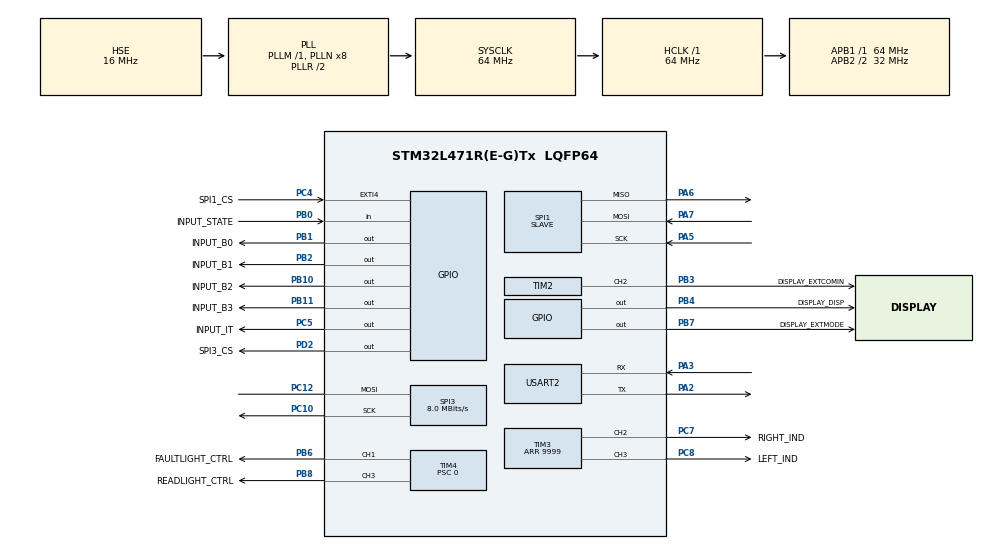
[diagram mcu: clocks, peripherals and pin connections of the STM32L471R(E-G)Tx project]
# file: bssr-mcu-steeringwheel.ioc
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Dma.Request0=SPI3_TX
Dma.Request1=SPI1_RX
Dma.Request2=SPI1_TX
Dma.SPI1_RX.1.Direction=DMA_PERIPH_TO_MEMORY
Dma.SPI1_RX.1.Instance=DMA1_Channel2
Dma.SPI1_RX.1.MemDataAlignment=DMA_MDATAALIGN_BYTE
Dma.SPI1_RX.1.MemInc=DMA_MINC_ENABLE
Dma.SPI1_RX.1.Mode=DMA_NORMAL
Dma.SPI1_RX.1.PeriphDataAlignment=DMA_PDATAALIGN_BYTE
Dma.SPI1_RX.1.PeriphInc=DMA_PINC_DISABLE
Dma.SPI1_RX.1.Priority=DMA_PRIORITY_HIGH
Dma.SPI1_TX.2.Direction=DMA_MEMORY_TO_PERIPH
Dma.SPI1_TX.2.Instance=DMA1_Channel3
Dma.SPI1_TX.2.MemDataAlignment=DMA_MDATAALIGN_BYTE
Dma.SPI1_TX.2.MemInc=DMA_MINC_ENABLE
Dma.SPI1_TX.2.Mode=DMA_NORMAL
Dma.SPI1_TX.2.PeriphDataAlignment=DMA_PDATAALIGN_BYTE
Dma.SPI1_TX.2.PeriphInc=DMA_PINC_DISABLE
Dma.SPI1_TX.2.Priority=DMA_PRIORITY_HIGH
Dma.SPI3_TX.0.Direction=DMA_MEMORY_TO_PERIPH
Dma.SPI3_TX.0.Instance=DMA2_Channel2
Dma.SPI3_TX.0.MemDataAlignment=DMA_MDATAALIGN_BYTE
Dma.SPI3_TX.0.MemInc=DMA_MINC_ENABLE
Dma.SPI3_TX.0.Mode=DMA_NORMAL
Dma.SPI3_TX.0.PeriphDataAlignment=DMA_PDATAALIGN_BYTE
Dma.SPI3_TX.0.PeriphInc=DMA_PINC_DISABLE
Dma.SPI3_TX.0.Priority=DMA_PRIORITY_LOW
Mcu.Family=STM32L4
Mcu.Name=STM32L471R(E-G)Tx
Mcu.Package=LQFP64
NVIC.DMA1_Channel2_IRQn=true\:0\:0\:false\:false\:true\:false\:true\:true
NVIC.DMA1_Channel3_IRQn=true\:0\:0\:false\:false\:true\:false\:true\:true
NVIC.DMA2_Channel2_IRQn=true\:0\:0\:false\:false\:true\:false\:true\:true
NVIC.EXTI4_IRQn=true\:0\:0\:false\:false\:true\:true\:true\:true
NVIC.PriorityGroup=NVIC_PRIORITYGROUP_4
PA13\ (JTMS-SWDIO).Mode=Serial_Wire
PA13\ (JTMS-SWDIO).Signal=SYS_JTMS-SWDIO
PA14\ (JTCK-SWCLK).Mode=Serial_Wire
PA14\ (JTCK-SWCLK).Signal=SYS_JTCK-SWCLK
PA2.Mode=Asynchronous
PA2.Signal=USART2_TX
PA3.Mode=Asynchronous
PA3.Signal=USART2_RX
PA5.Mode=Full_Duplex_Slave
PA5.Signal=SPI1_SCK
PA6.Mode=Full_Duplex_Slave
PA6.Signal=SPI1_MISO
PA7.Mode=Full_Duplex_Slave
PA7.Signal=SPI1_MOSI
PB0.GPIO_Label=INPUT_STATE
PB0.GPIO_PuPd=GPIO_PULLDOWN
PB0.Signal=GPIO_Input
PB1.GPIO_Label=INPUT_B0
PB1.PinState=GPIO_PIN_SET
PB1.Signal=GPIO_Output
PB10.GPIO_Label=INPUT_B2
PB10.PinState=GPIO_PIN_RESET
PB10.Signal=GPIO_Output
PB11.GPIO_Label=INPUT_B3
PB11.PinState=GPIO_PIN_RESET
PB11.Signal=GPIO_Output
PB2.GPIO_Label=INPUT_B1
PB2.PinState=GPIO_PIN_SET
PB2.Signal=GPIO_Output
PB3\ (JTDO-TRACESWO).GPIO_Label=DISPLAY_EXTCOMIN
PB3\ (JTDO-TRACESWO).Signal=S_TIM2_CH2
PB4\ (NJTRST).GPIO_Label=DISPLAY_DISP
PB4\ (NJTRST).PinState=GPIO_PIN_RESET
PB4\ (NJTRST).Signal=GPIO_Output
PB6.GPIO_Label=FAULTLIGHT_CTRL
PB6.Signal=S_TIM4_CH1
PB7.GPIO_Label=DISPLAY_EXTMODE
PB7.GPIO_ModeDefaultOutputPP=GPIO_MODE_OUTPUT_PP
PB7.GPIO_PuPd=GPIO_PULLUP
PB7.PinState=GPIO_PIN_SET
PB7.Signal=GPIO_Output
PB8.GPIO_Label=READLIGHT_CTRL
PB8.Signal=S_TIM4_CH3
PC10.Mode=Simplex_Bidirectional_Master
PC10.Signal=SPI3_SCK
PC12.Mode=Simplex_Bidirectional_Master
PC12.Signal=SPI3_MOSI
PC4.GPIO_Label=SPI1_CS
PC4.GPIO_ModeDefaultEXTI=GPIO_MODE_IT_RISING_FALLING
PC4.Signal=GPXTI4
PC5.GPIO_Label=INPUT_IT
PC5.Signal=GPIO_Output
PC7.GPIO_Label=RIGHT_IND
PC7.Signal=S_TIM3_CH2
PC8.GPIO_Label=LEFT_IND
PC8.Signal=S_TIM3_CH3
PD2.GPIO_Label=SPI3_CS
PD2.GPIO_Speed=GPIO_SPEED_FREQ_VERY_HIGH
PD2.Signal=GPIO_Output
PH0-OSC_IN\ (PH0).Mode=HSE-External-Oscillator
PH0-OSC_IN\ (PH0).Signal=RCC_OSC_IN
PH1-OSC_OUT\ (PH1).Mode=HSE-External-Oscillator
PH1-OSC_OUT\ (PH1).Signal=RCC_OSC_OUT
ProjectManager.HeapSize=0x200
ProjectManager.StackSize=0x400
ProjectManager.TargetToolchain=STM32CubeIDE
RCC.ADCFreq_Value=64000000
RCC.AHBFreq_Value=64000000
RCC.APB1Freq_Value=64000000
RCC.APB1TimFreq_Value=64000000
RCC.APB2CLKDivider=RCC_HCLK_DIV2
RCC.APB2Freq_Value=32000000
RCC.APB2TimFreq_Value=64000000
RCC.CortexFreq_Value=64000000
RCC.HCLKFreq_Value=64000000
RCC.HSE_VALUE=16000000
RCC.HSI_VALUE=16000000
RCC.LSE_VALUE=32768
RCC.MSI_VALUE=4000000
RCC.PLLSourceVirtual=RCC_PLLSOURCE_HSE
RCC.SYSCLKFreq_VALUE=64000000
RCC.SYSCLKSource=RCC_SYSCLKSOURCE_PLLCLK
RCC.VCOOutputFreq_Value=128000000
SH.S_TIM2_CH2.0=TIM2_CH2,PWM Generation2 CH2
SH.S_TIM3_CH2.0=TIM3_CH2,PWM Generation2 CH2
SH.S_TIM3_CH3.0=TIM3_CH3,PWM Generation3 CH3
SH.S_TIM4_CH1.0=TIM4_CH1,PWM Generation1 CH1
SH.S_TIM4_CH3.0=TIM4_CH3,PWM Generation3 CH3
SPI1.DataSize=SPI_DATASIZE_8BIT
SPI1.Direction=SPI_DIRECTION_2LINES
SPI1.Mode=SPI_MODE_SLAVE
SPI1.VirtualType=VM_SLAVE
SPI3.BaudRatePrescaler=SPI_BAUDRATEPRESCALER_8
SPI3.CLKPhase=SPI_PHASE_1EDGE
SPI3.CLKPolarity=SPI_POLARITY_LOW
SPI3.CalculateBaudRate=8.0 MBits/s
SPI3.DataSize=SPI_DATASIZE_8BIT
SPI3.Direction=SPI_DIRECTION_1LINE
SPI3.FirstBit=SPI_FIRSTBIT_MSB
SPI3.Mode=SPI_MODE_MASTER
SPI3.VirtualType=VM_MASTER
TIM2.Channel-PWM\ Generation2\ CH2=TIM_CHANNEL_2
TIM2.Period=6399999
TIM2.Prescaler=48
TIM2.Pulse-PWM\ Generation2\ CH2=3200000
TIM3.Channel-PWM\ Generation2\ CH2=TIM_CHANNEL_2
TIM3.Channel-PWM\ Generation3\ CH3=TIM_CHANNEL_3
TIM3.OC2Preload_PWM=ENABLE
TIM3.OC3Preload_PWM=ENABLE
TIM3.Period=9999
TIM3.Pulse-PWM\ Generation2\ CH2=0
TIM3.Pulse-PWM\ Generation3\ CH3=0
TIM4.Channel-PWM\ Generation1\ CH1=TIM_CHANNEL_1
TIM4.Channel-PWM\ Generation3\ CH3=TIM_CHANNEL_3
TIM4.Period=9999
TIM4.Prescaler=0
TIM4.Pulse-PWM\ Generation1\ CH1=0
USART2.VirtualMode-Asynchronous=VM_ASYNC
board=custom

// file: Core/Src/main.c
/* USER CODE BEGIN Header */
/**
  ******************************************************************************
  * @file           : main.c
  * @brief          : Main program body
  ******************************************************************************
  * @attention
  *
  * Copyright (c) 2025 STMicroelectronics.
  * All rights reserved.
  *
  * This software is licensed under terms that can be found in the LICENSE file
  * in the root directory of this software component.
  * If no LICENSE file comes with this software, it is provided AS-IS.
  *
  ******************************************************************************
  */
/* USER CODE END Header */
#include "main.h"
#include "dma.h"
#include "spi.h"
#include "tim.h"
#include "usart.h"
#include "gpio.h"

/* USER CODE BEGIN Includes */
#include "LS032B7DD02.h"
#include "inputs.h"
#include <stdio.h>
#include <string.h>
/* USER CODE END Includes */

/* USER CODE BEGIN PV */
#define DEFAULT_FLTLIGHT_MODE 1
#define DEFAULT_INDLIGHT_MODE 0

#define DEFAULT_SCREEN_BRIGHTNESS 5000
#define DEFAULT_FLTLIGHT_BRIGHTNESS 200
#define DEFAULT_INDLIGHT_BRIGHTNESS 5000

// LS032 Memory allocations
LS032_HandleTypeDef ls032;
uint8_t ls032_vram[LS032_VRAM_HEIGHT*LS032_PIXEL_WIDTH + 2] = {0};
uint16_t ls032_vram_len = LS032_VRAM_HEIGHT*LS032_PIXEL_WIDTH + 2;

LS032_TextReg ls032_registers[LS032_NUMREGISTERS];
char ls032_registers_text[LS032_NUMREGISTERS][0xFF];

// INPUTS Memory allocations
Inputs_HandleTypeDef inputs;
GPIO_TypeDef* input_sel_gpio_ports[4] = {
		INPUT_B0_GPIO_Port,
		INPUT_B1_GPIO_Port,
		INPUT_B2_GPIO_Port,
		INPUT_B3_GPIO_Port
};

uint16_t input_sel_gpio_pins[4] = {
		INPUT_B0_Pin,
		INPUT_B1_Pin,
		INPUT_B2_Pin,
		INPUT_B3_Pin
};

// SPI RX memory allocations
uint8_t spi1_tx_queued = 0;
uint8_t spi1_rx_buf[257] = {0};
uint8_t spi1_tx_buf[257] = {0};
uint32_t spi1_watchdog_t = 0;

// Light controls
uint8_t  lights_flt_mode = DEFAULT_FLTLIGHT_MODE;
uint8_t  lights_ind_mode = DEFAULT_INDLIGHT_MODE;
uint16_t lights_flt_brightness  = DEFAULT_FLTLIGHT_BRIGHTNESS;
uint16_t lights_ind_brightness  = DEFAULT_INDLIGHT_BRIGHTNESS;
uint16_t lights_read_brightness = DEFAULT_SCREEN_BRIGHTNESS;

/* USER CODE END PV */

void SystemClock_Config(void);
/* USER CODE BEGIN PFP */

void Command_UPDATE_LIGHTS();
void Handle_SPI1_RX_START();
void Handle_SPI1_RX_CPLT();
/* USER CODE END PFP */

int main(void)
{

  /* USER CODE BEGIN 1 */
	HAL_GPIO_WritePin(DISPLAY_EXTMODE_GPIO_Port, DISPLAY_EXTMODE_Pin, GPIO_PIN_SET);

  /* USER CODE END 1 */

  /* MCU Configuration--------------------------------------------------------*/

  /* Reset of all peripherals, Initializes the Flash interface and the Systick. */
  HAL_Init();

  /* USER CODE BEGIN Init */
  memset(spi1_tx_buf, 0b01010101, 257); // INVALID BYTES
  spi1_tx_buf[0] = 0b10101010; // MARKING BYTE

  /* USER CODE END Init */

  /* Configure the system clock */
  SystemClock_Config();

  /* Initialize all configured peripherals */
  MX_GPIO_Init();
  MX_DMA_Init();
  MX_SPI1_Init();
  MX_SPI3_Init();
  MX_TIM2_Init();
  MX_TIM4_Init();
  MX_USART2_UART_Init();
  MX_TIM3_Init();
  /* USER CODE BEGIN 2 */

  // START THE WATCHDOG
  spi1_watchdog_t = HAL_GetTick();

  // SET UP LIGHTS
  Command_UPDATE_LIGHTS();

	HAL_TIM_PWM_Start(&htim4, TIM_CHANNEL_1);
	HAL_TIM_PWM_Start(&htim4, TIM_CHANNEL_3);
	HAL_TIM_PWM_Start(&htim3, TIM_CHANNEL_2);
	HAL_TIM_PWM_Start(&htim3, TIM_CHANNEL_3);

	// SET UP THE DISPLAY
	ls032.spi_handle = &hspi3;
	ls032.cs_gpio_handle = SPI3_CS_GPIO_Port;
	ls032.cs_gpio_pin = SPI3_CS_Pin;
	ls032.extcomin_tim_handle = &htim2;
	ls032.extcomin_channel = TIM_CHANNEL_2;
	ls032.extmode_gpio_handle = DISPLAY_EXTMODE_GPIO_Port;
	ls032.extmode_gpio_pin = DISPLAY_EXTMODE_Pin;
	ls032.disp_gpio_handle = DISPLAY_DISP_GPIO_Port;
	ls032.disp_gpio_pin = DISPLAY_DISP_Pin;
	ls032.vram = ls032_vram;
	ls032.vram_len = ls032_vram_len;

	// Assign register memory to references in LS032
	ls032.registers = ls032_registers;
	for (uint8_t i = 0; i < 32; i++)
		ls032.registers[i].str = ls032_registers_text[i];

	if (LS032_Init(&ls032)) {
		// TODO: Error Handle
	}

	LS032_Clear(&ls032);
	LS032_DrawLogo(&ls032);
	LS032_UpdateManual(&ls032);

	// SET UP THE INPUTS LIBRARY
	inputs.sel_gpio_handles = input_sel_gpio_ports;
	inputs.sel_gpio_pins = input_sel_gpio_pins;
	inputs.it_gpio_handle = INPUT_IT_GPIO_Port;
	inputs.it_gpio_pin = INPUT_IT_Pin;
	inputs.state_gpio_handle = INPUT_STATE_GPIO_Port;
	inputs.state_gpio_pin = INPUT_STATE_Pin;
	inputs.states = 0xFFFF;
	inputs.states_itmask = 0b0000111111111111;
	inputs.states_invertmask = 0b0000001111000000;
	inputs.spi_tx = spi1_tx_buf;

  /* USER CODE END 2 */

  /* Infinite loop */
  while (1)
  {

    /* USER CODE BEGIN 3 */

	  LS032_UpdateAsync(&ls032);

	  // Delay for screen refresh
	  //HAL_Delay(30);

	  // Handle inputs:
	  Inputs_CheckAll(&inputs);
	  // Screen Brightness
	  if ((inputs.states >> 9) & 0b1) {
		  TIM4->CCR3 = 0;
	  } else {
		  TIM4->CCR3 = lights_read_brightness;
	  }

	  // Check the watchdog
	  if (HAL_GetTick() - spi1_watchdog_t >= 100) {
//		  spi1_watchdog_t = HAL_GetTick();
//
//		  LS032_Clear(&ls032);
//		  char* nosig_str = "NO SIGNAL";
//		  LS032_DrawString(&ls032, 325, 1, 4, 9, nosig_str);
//		  LS032_UpdateManual(&ls032);
//		  Handle_SPI1_RX_START();
		  NVIC_SystemReset();
	  }
  }
  /* USER CODE END 3 */
}

void SystemClock_Config(void)
{
  RCC_OscInitTypeDef RCC_OscInitStruct = {0};
  RCC_ClkInitTypeDef RCC_ClkInitStruct = {0};

  /** Configure the main internal regulator output voltage
  */
  if (HAL_PWREx_ControlVoltageScaling(PWR_REGULATOR_VOLTAGE_SCALE1) != HAL_OK)
  {
    Error_Handler();
  }

  /** Initializes the RCC Oscillators according to the specified parameters
  * in the RCC_OscInitTypeDef structure.
  */
  RCC_OscInitStruct.OscillatorType = RCC_OSCILLATORTYPE_HSE;
  RCC_OscInitStruct.HSEState = RCC_HSE_ON;
  RCC_OscInitStruct.PLL.PLLState = RCC_PLL_ON;
  RCC_OscInitStruct.PLL.PLLSource = RCC_PLLSOURCE_HSE;
  RCC_OscInitStruct.PLL.PLLM = 1;
  RCC_OscInitStruct.PLL.PLLN = 8;
  RCC_OscInitStruct.PLL.PLLP = RCC_PLLP_DIV7;
  RCC_OscInitStruct.PLL.PLLQ = RCC_PLLQ_DIV2;
  RCC_OscInitStruct.PLL.PLLR = RCC_PLLR_DIV2;
  if (HAL_RCC_OscConfig(&RCC_OscInitStruct) != HAL_OK)
  {
    Error_Handler();
  }

  /** Initializes the CPU, AHB and APB buses clocks
  */
  RCC_ClkInitStruct.ClockType = RCC_CLOCKTYPE_HCLK|RCC_CLOCKTYPE_SYSCLK
                              |RCC_CLOCKTYPE_PCLK1|RCC_CLOCKTYPE_PCLK2;
  RCC_ClkInitStruct.SYSCLKSource = RCC_SYSCLKSOURCE_PLLCLK;
  RCC_ClkInitStruct.AHBCLKDivider = RCC_SYSCLK_DIV1;
  RCC_ClkInitStruct.APB1CLKDivider = RCC_HCLK_DIV1;
  RCC_ClkInitStruct.APB2CLKDivider = RCC_HCLK_DIV2;

  if (HAL_RCC_ClockConfig(&RCC_ClkInitStruct, FLASH_LATENCY_3) != HAL_OK)
  {
    Error_Handler();
  }
}

/* USER CODE BEGIN 4 */
// ------------------------------------------------------------ HELPER FUNCTIONS -- //

void u16ToStr(uint16_t in, char* str) {
	for (uint8_t bit = 0; bit < 16; bit++) {
		if ((in >> bit) & 0b1) str[bit] = '1';
		else str[bit] = '0';
	}
}

void Command_UPDATE_LIGHTS() {
	// FAULT LIGHT:
	if (lights_flt_mode)
		TIM4->CCR1 = lights_flt_brightness;
	else
		TIM4->CCR1 = 0;

	// LEFT IND:
	if (lights_ind_mode & 0b10)
		TIM3->CCR2 = lights_ind_brightness;
	else
		TIM3->CCR2 = 0;

	// RIGHT IND:
	if (lights_ind_mode & 0b01)
		TIM3->CCR3 = lights_ind_brightness;
	else
		TIM3->CCR3 = 0;
}

void Handle_SPI1_RX_START() {
	// Reset the buffers
	memset(spi1_rx_buf, 0b01000000, 257);
	// Start DMA
	//HAL_SPI_DMAStop(&hspi1);
	uint8_t ret = HAL_SPI_TransmitReceive_DMA(&hspi1, spi1_tx_buf, spi1_rx_buf, 257);
	if (ret == HAL_ERROR) NVIC_SystemReset();
	//if (HAL_SPI_DMAStop(&hspi1)) NVIC_SystemReset();
	//if (HAL_SPI_TransmitReceive_DMA(&hspi1, spi1_tx_buf, spi1_rx_buf, 257)) NVIC_SystemReset();
}

void Handle_SPI1_RX_CPLT() {
	// Stop DMA and parse the packet
	if (HAL_SPI_DMAStop(&hspi1)) NVIC_SystemReset();

	if (spi1_rx_buf[0] & 0b10000000) {
		// DISPLAY CMD
		uint8_t reg  = (spi1_rx_buf[0] & 0b01111100) >> 2;
		uint8_t prop = (spi1_rx_buf[0] & 0b00000011);
		uint8_t crc_comp = 0x00;
		uint8_t crc_in = 0x00;
		switch (prop) {
			case 0:
				uint16_t pos_x = (((uint16_t)spi1_rx_buf[1]) << 8) | ((uint16_t)spi1_rx_buf[2]);
				uint16_t pos_y = (((uint16_t)spi1_rx_buf[3]) << 8) | ((uint16_t)spi1_rx_buf[4]);
				crc_comp =
						spi1_rx_buf[0] ^
						spi1_rx_buf[1] ^
						spi1_rx_buf[2] ^
						spi1_rx_buf[3] ^
						spi1_rx_buf[4];
				crc_in = spi1_rx_buf[5];
				if (crc_comp != crc_in) return;
				LS032_TextReg_SetPos(&ls032, reg, pos_x, pos_y);
				break;
			case 1:
				uint8_t size = spi1_rx_buf[1];
				crc_comp =
						spi1_rx_buf[0] ^
						spi1_rx_buf[1];
				crc_in = spi1_rx_buf[2];
				if (crc_comp != crc_in) return;
				LS032_TextReg_SetSize(&ls032, reg, size);
				break;
			case 2:
				uint8_t mode = spi1_rx_buf[1];
				crc_comp =
						spi1_rx_buf[0] ^
						spi1_rx_buf[1];
				crc_in = spi1_rx_buf[2];
				if (crc_comp != crc_in) return;
				LS032_TextReg_SetMode(&ls032, reg, mode);
				break;
			case 3:
				uint8_t len = spi1_rx_buf[1];
				crc_comp =
						spi1_rx_buf[0] ^
						spi1_rx_buf[1];
				for (uint8_t i = 0; i < len; i++)
						crc_comp ^= spi1_rx_buf[i + 2];
				crc_in = spi1_rx_buf[len + 2];
				if (crc_comp != crc_in) return;
				LS032_TextReg_SetString(&ls032, reg, len, (char*)(spi1_rx_buf + 2));
				break;
			default:
				memset(spi1_rx_buf, 0b01000000, 257);
				return;
		}
	} else if (spi1_rx_buf[0] == 0x00) {
		// INPUT CMD
		spi1_tx_queued = 1;
	} else if (spi1_rx_buf[0] == 0x01) {
		// FAULT LIGHT CTRL
		if (spi1_rx_buf[1] <= 3) {
			lights_flt_mode = spi1_rx_buf[1];
			uint8_t crc_comp =
					spi1_rx_buf[0] ^
					spi1_rx_buf[1];
			uint8_t crc_in = spi1_rx_buf[2];
			if (crc_comp != crc_in) return;
			Command_UPDATE_LIGHTS();
		}
	} else if (spi1_rx_buf[0] == 0x02) {
		// IND. LIGHT CTRL
		if (spi1_rx_buf[1] <= 3) {
			lights_ind_mode = spi1_rx_buf[1];
			uint8_t crc_comp =
					spi1_rx_buf[0] ^
					spi1_rx_buf[1];
			uint8_t crc_in = spi1_rx_buf[2];
			if (crc_comp != crc_in) return;
			Command_UPDATE_LIGHTS();
		}
	} else if (spi1_rx_buf[0] == 0x03) {
		// READ LIGHT BRIGHTNESS
		if (spi1_rx_buf[1] <= 100) {
			lights_read_brightness = (uint16_t)(spi1_rx_buf[1])*100;
			uint8_t crc_comp =
					spi1_rx_buf[0] ^
					spi1_rx_buf[1];
			uint8_t crc_in = spi1_rx_buf[2];
			if (crc_comp != crc_in) return;
			Command_UPDATE_LIGHTS();
		}
	} else {
		return;
	}

	spi1_watchdog_t = HAL_GetTick();
}

// ------------------------------------------------------------ OVERRIDE EXTERNAL INTERRUPTS -- //
void HAL_GPIO_EXTI_Callback(uint16_t GPIO_Pin)
{
	__disable_irq();
  if(GPIO_Pin == SPI1_CS_Pin) {
	  if (HAL_GPIO_ReadPin(SPI1_CS_GPIO_Port, SPI1_CS_Pin)) {
		  // SPI CS was just deasserted
		  Handle_SPI1_RX_CPLT();
	  } else {
		  // SPI CS was just asserted
		  Handle_SPI1_RX_START();
	  }
  } else {
      __NOP();
  }
  __enable_irq();
}

// ------------------------------------------------------------ OVERRIDE SPI DMA CALLBACKS -- //
void HAL_SPI_TxCpltCallback(SPI_HandleTypeDef *hspi) {
	if (hspi != &hspi3) return;
//	ls032.spi_state = 0;
//	HAL_GPIO_WritePin(ls032.cs_gpio_handle, ls032.cs_gpio_pin, GPIO_PIN_RESET);
	LS032_TX_DMA_CPLT(&ls032);
}

/* USER CODE END 4 */

void Error_Handler(void)
{
  __disable_irq();
  while (1)
  {
  }
}
